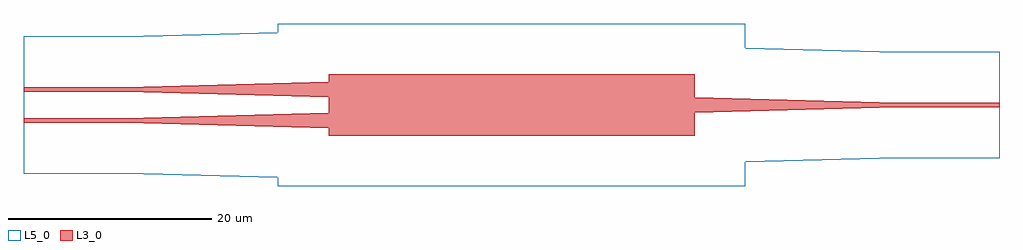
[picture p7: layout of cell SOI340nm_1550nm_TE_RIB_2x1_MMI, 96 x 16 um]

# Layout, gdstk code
import gdstk
lib = gdstk.Library(unit=1e-6, precision=1e-09)
def R(c, l, rs):  # rectangles x0, y0, x1, y1
    for r in rs: c.add(gdstk.rectangle(r[:2], r[2:], *l))
def P(c, l, *ps):  # polygons
    for p in ps: c.add(gdstk.Polygon(p, *l))
L3_0 = (3, 0)
L5_0 = (5, 0)

soi340nm_1550nm_te_rib_2 = lib.new_cell('SOI340nm_1550nm_TE_RIB_2x1_MMI')
R(soi340nm_1550nm_te_rib_2, L3_0, [(-18,-3,18,3), (-48,-1.75,-38,-1.3), (38,-0.225,48,0.225), (-48,1.3,-38,1.75)])
P(soi340nm_1550nm_te_rib_2, L3_0, [(18,-0.75),(18,0.75),(38,0.225),(38,-0.225)],
  [(-18,0.775),(-38,1.3),(-38,1.75),(-18,2.275)],
  [(-18,-2.275),(-38,-1.75),(-38,-1.3),(-18,-0.775)])
P(soi340nm_1550nm_te_rib_2, L5_0, [(-23,-8),(-23,-7.145),(-38.055,-6.75),(-48,-6.75),(-48,6.75),(-38.055,6.75),(-23,7.145),(-23,8),(23,8),(23,5.62),(38.055,5.225),(48,5.225),(48,-5.225),(38.055,-5.225),(23,-5.62),(23,-8)])

lib.write_gds('SOI340nm_1550nm_TE_RIB_2x1_MMI.gds')
